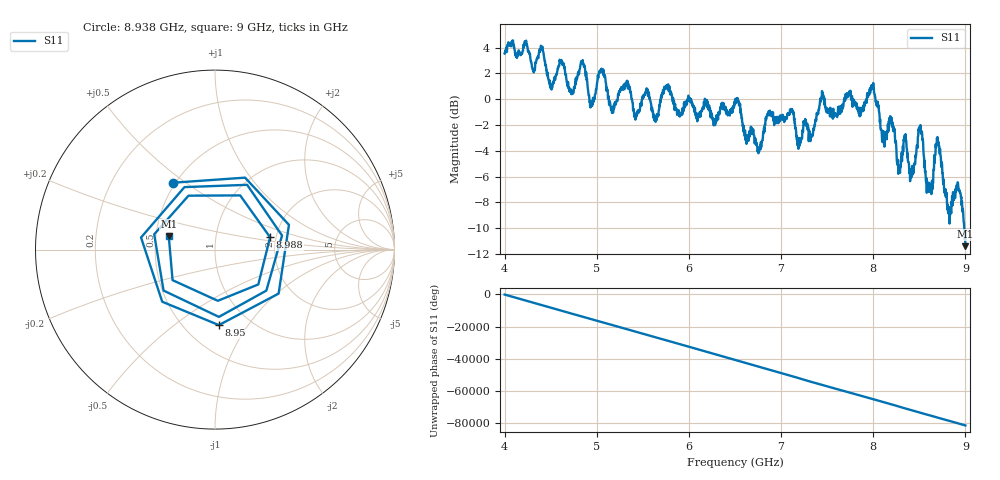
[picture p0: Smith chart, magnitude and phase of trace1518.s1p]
! Created with skrf 1.8.0 (http://scikit-rf.org).
# Hz S RI R 50.0
!freq ReS11 ImS11
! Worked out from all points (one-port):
!   1601 points, 4 GHz to 9 GHz, reference 50 ohm
!   lowest |S11| = -11.4 dB at 9 GHz (marker M1), VSWR 1.74, Z = 29.2 + j4.82 ohm
!   |S11| at or under -10 dB: 8.987612 GHz to end of sweep
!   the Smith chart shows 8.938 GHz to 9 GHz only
!   S11 on the Smith chart (normalised r, x): 8.938 GHz: 0.48, +0.45; 8.95 GHz: 0.73, -0.74; 8.988 GHz: 1.86, +0.28; 9 GHz: 0.58, +0.10
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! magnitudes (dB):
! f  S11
! 4 GHz  3.5
! 4.506 GHz  1.0
! 4.625 GHz  2.7
! 4.725 GHz  0.5
! 4.85 GHz  2.7
! 4.944 GHz  -0.5
! 5.044 GHz  2.2
! 5.156 GHz  -0.8
! 5.25 GHz  0.6
! 5.875 GHz  -1.1
! 6.5 GHz  -0.1
! 6.759 GHz  -4.0
! 6.856 GHz  -1.2
! 7.125 GHz  -1.0
! 7.203 GHz  -3.6
! 7.444 GHz  0.6
! 7.75 GHz  0.4
! 7.994 GHz  1.1
! 8.278 GHz  -5.5
! 8.375 GHz  -4.7
! 8.512 GHz  -2.0
! 8.606 GHz  -7.2
! 8.703 GHz  -3.5
! 8.822 GHz  -8.6
! 8.938 GHz  -7.1
! 8.95 GHz  -7.5
! 8.988 GHz  -10.0
! 9 GHz  -11.4
